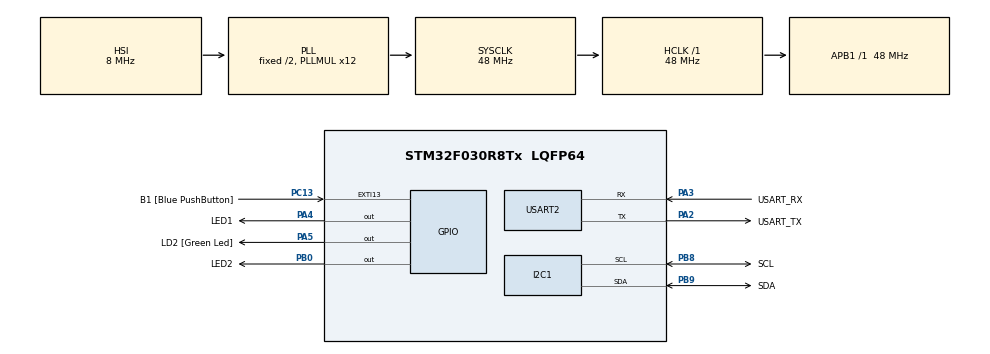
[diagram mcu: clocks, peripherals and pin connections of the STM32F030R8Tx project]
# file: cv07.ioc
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Dma.Request0=USART2_RX
Dma.USART2_RX.0.Direction=DMA_PERIPH_TO_MEMORY
Dma.USART2_RX.0.Instance=DMA1_Channel5
Dma.USART2_RX.0.MemDataAlignment=DMA_MDATAALIGN_BYTE
Dma.USART2_RX.0.MemInc=DMA_MINC_ENABLE
Dma.USART2_RX.0.Mode=DMA_CIRCULAR
Dma.USART2_RX.0.PeriphDataAlignment=DMA_PDATAALIGN_BYTE
Dma.USART2_RX.0.PeriphInc=DMA_PINC_DISABLE
Dma.USART2_RX.0.Priority=DMA_PRIORITY_LOW
FREERTOS.Queues01=xVisualQueue,16,int16_t,0,Dynamic,NULL,NULL
FREERTOS.Tasks01=defaultTask,0,128,StartDefaultTask,Default,NULL,Dynamic,NULL,NULL;VisualTask,0,128,StartVisualTask,Default,NULL,Dynamic,NULL,NULL;AcceleroTask,0,128,StartAcceleroTask,Default,NULL,Dynamic,NULL,NULL
FREERTOS.configUSE_NEWLIB_REENTRANT=1
Mcu.Family=STM32F0
Mcu.Name=STM32F030R8Tx
Mcu.Package=LQFP64
NVIC.DMA1_Channel4_5_IRQn=true\:3\:0\:false\:false\:true\:true\:false\:true
NVIC.TIM14_IRQn=true\:3\:0\:false\:false\:true\:false\:false\:true
NVIC.TimeBase=TIM14_IRQn
NVIC.TimeBaseIP=TIM14
PA13.GPIO_Label=TMS
PA13.Mode=Serial_Wire
PA13.Signal=SYS_SWDIO
PA14.GPIO_Label=TCK
PA14.Mode=Serial_Wire
PA14.Signal=SYS_SWCLK
PA2.GPIO_Label=USART_TX
PA2.GPIO_Mode=GPIO_MODE_AF_PP
PA2.GPIO_PuPd=GPIO_NOPULL
PA2.GPIO_Speed=GPIO_SPEED_FREQ_LOW
PA2.Mode=Asynchronous
PA2.Signal=USART2_TX
PA3.GPIO_Label=USART_RX
PA3.GPIO_Mode=GPIO_MODE_AF_PP
PA3.GPIO_PuPd=GPIO_NOPULL
PA3.GPIO_Speed=GPIO_SPEED_FREQ_LOW
PA3.Mode=Asynchronous
PA3.Signal=USART2_RX
PA4.GPIO_Label=LED1
PA4.Signal=GPIO_Output
PA5.GPIO_Label=LD2 [Green Led]
PA5.GPIO_Mode=GPIO_MODE_OUTPUT_PP
PA5.GPIO_PuPd=GPIO_NOPULL
PA5.GPIO_Speed=GPIO_SPEED_FREQ_LOW
PA5.Signal=GPIO_Output
PB0.GPIO_Label=LED2
PB0.Signal=GPIO_Output
PB8.GPIO_Label=SCL
PB8.Mode=I2C
PB8.Signal=I2C1_SCL
PB9.GPIO_Label=SDA
PB9.Mode=I2C
PB9.Signal=I2C1_SDA
PC13.GPIO_Label=B1 [Blue PushButton]
PC13.GPIO_ModeDefaultEXTI=GPIO_MODE_IT_FALLING
PC13.Signal=GPXTI13
PC14-OSC32_IN.Mode=LSE-External-Oscillator
PC14-OSC32_IN.Signal=RCC_OSC32_IN
PC15-OSC32_OUT.Mode=LSE-External-Oscillator
PC15-OSC32_OUT.Signal=RCC_OSC32_OUT
PF0-OSC_IN.Mode=HSE-External-Clock-Source
PF0-OSC_IN.Signal=RCC_OSC_IN
PF1-OSC_OUT.Signal=RCC_OSC_OUT
ProjectManager.HeapSize=0x200
ProjectManager.StackSize=0x400
ProjectManager.TargetToolchain=STM32CubeIDE
RCC.AHBFreq_Value=48000000
RCC.APB1Freq_Value=48000000
RCC.APB1TimFreq_Value=48000000
RCC.HCLKFreq_Value=48000000
RCC.PLLMUL=RCC_PLL_MUL12
RCC.SYSCLKFreq_VALUE=48000000
RCC.SYSCLKSource=RCC_SYSCLKSOURCE_PLLCLK
USART2.VirtualMode-Asynchronous=VM_ASYNC
VP_FREERTOS_VS_CMSIS_V1.Mode=CMSIS_V1
VP_SYS_VS_tim14.Mode=TIM14
board=NUCLEO-F030R8

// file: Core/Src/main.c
/* USER CODE BEGIN Header */
/**
 ******************************************************************************
 * @file           : main.c
 * @brief          : Main program body
 ******************************************************************************
 * @attention
 *
 * <h2><center>&copy; Copyright (c) 2021 STMicroelectronics.
 * All rights reserved.</center></h2>
 *
 * This software component is licensed by ST under BSD 3-Clause license,
 * the "License"; You may not use this file except in compliance with the
 * License. You may obtain a copy of the License at:
 *                        opensource.org/licenses/BSD-3-Clause
 *
 ******************************************************************************
 */
/* USER CODE END Header */
#include "main.h"
#include "cmsis_os.h"
#include <lis2dw12_reg.h>
#include <stdio.h>

/* USER CODE BEGIN PD */
#define RX_BUFFER_LEN 64
static uint8_t uart_rx_buf[RX_BUFFER_LEN];
static volatile uint16_t uart_rx_read_ptr = 0;
#define uart_rx_write_ptr (RX_BUFFER_LEN - hdma_usart2_rx.Instance->CNDTR)
#define CMD_BUFFER_LEN 256
/* USER CODE END PD */

I2C_HandleTypeDef hi2c1;

UART_HandleTypeDef huart2;
DMA_HandleTypeDef hdma_usart2_rx;

osThreadId defaultTaskHandle;
osThreadId VisualTaskHandle;
osThreadId AcceleroTaskHandle;
osMessageQId xVisualQueueHandle;

void SystemClock_Config(void);
static void MX_GPIO_Init(void);
static void MX_DMA_Init(void);
static void MX_USART2_UART_Init(void);
static void MX_I2C1_Init(void);
void StartDefaultTask(void const * argument);
void StartVisualTask(void const * argument);
void StartAcceleroTask(void const * argument);

/* USER CODE BEGIN PFP */
static int32_t platform_write(void *handle, uint8_t reg, uint8_t *bufp, uint16_t len);
static int32_t platform_read(void *handle, uint8_t reg, uint8_t *bufp, uint16_t len);
static stmdev_ctx_t lis2dw12 = {
		.write_reg = platform_write,
		.read_reg = platform_read,
		.handle = &hi2c1,
};
/*
 * Replace the functions "platform_write" and "platform_read" with your
 * platform specific read and write function.
 */
static int32_t platform_write(void *handle, uint8_t reg, uint8_t *bufp, uint16_t len)
{
	HAL_I2C_Mem_Write(handle, LIS2DW12_I2C_ADD_H, reg, I2C_MEMADD_SIZE_8BIT, bufp, len, 1000);
	return 0;
}
static int32_t platform_read(void *handle, uint8_t reg, uint8_t *bufp, uint16_t len)
{
	HAL_I2C_Mem_Read(handle, LIS2DW12_I2C_ADD_H, reg, I2C_MEMADD_SIZE_8BIT, bufp, len, 1000);
	return 0;
}
/* USER CODE END PFP */

/* USER CODE BEGIN 0 */

int _write(int file, char const *buf, int n)
{
	/* stdout redirection to UART2 */
	HAL_UART_Transmit(&huart2, (uint8_t*)(buf), n, HAL_MAX_DELAY);
	return n;
}
/* USER CODE END 0 */

int main(void)
{

	/* MCU Configuration--------------------------------------------------------*/

	/* Reset of all peripherals, Initializes the Flash interface and the Systick. */
	HAL_Init();

	/* Configure the system clock */
	SystemClock_Config();

	/* Initialize all configured peripherals */
	MX_GPIO_Init();
	MX_DMA_Init();
	MX_USART2_UART_Init();
	MX_I2C1_Init();
	/* USER CODE BEGIN 2 */
	HAL_UART_Receive_DMA(&huart2, uart_rx_buf, RX_BUFFER_LEN);
	/* USER CODE END 2 */

	/* Create the queue(s) */
	/* definition and creation of xVisualQueue */
	osMessageQDef(xVisualQueue, 16, int16_t);
	xVisualQueueHandle = osMessageCreate(osMessageQ(xVisualQueue), NULL);

	/* Create the thread(s) */
	/* definition and creation of defaultTask */
	osThreadDef(defaultTask, StartDefaultTask, osPriorityNormal, 0, 128);
	defaultTaskHandle = osThreadCreate(osThread(defaultTask), NULL);

	/* definition and creation of VisualTask */
	osThreadDef(VisualTask, StartVisualTask, osPriorityNormal, 0, 128);
	VisualTaskHandle = osThreadCreate(osThread(VisualTask), NULL);

	/* definition and creation of AcceleroTask */
	osThreadDef(AcceleroTask, StartAcceleroTask, osPriorityNormal, 0, 128);
	AcceleroTaskHandle = osThreadCreate(osThread(AcceleroTask), NULL);

	/* Start scheduler */
	osKernelStart();

	/* We should never get here as control is now taken by the scheduler */
	/* Infinite loop */
	while (1)
	{

	}
}

void SystemClock_Config(void)
{
	RCC_OscInitTypeDef RCC_OscInitStruct = {0};
	RCC_ClkInitTypeDef RCC_ClkInitStruct = {0};
	RCC_PeriphCLKInitTypeDef PeriphClkInit = {0};

	/** Initializes the RCC Oscillators according to the specified parameters
	 * in the RCC_OscInitTypeDef structure.
	 */
	RCC_OscInitStruct.OscillatorType = RCC_OSCILLATORTYPE_HSI;
	RCC_OscInitStruct.HSIState = RCC_HSI_ON;
	RCC_OscInitStruct.HSICalibrationValue = RCC_HSICALIBRATION_DEFAULT;
	RCC_OscInitStruct.PLL.PLLState = RCC_PLL_ON;
	RCC_OscInitStruct.PLL.PLLSource = RCC_PLLSOURCE_HSI;
	RCC_OscInitStruct.PLL.PLLMUL = RCC_PLL_MUL12;
	RCC_OscInitStruct.PLL.PREDIV = RCC_PREDIV_DIV1;
	if (HAL_RCC_OscConfig(&RCC_OscInitStruct) != HAL_OK)
	{
		Error_Handler();
	}
	/** Initializes the CPU, AHB and APB buses clocks
	 */
	RCC_ClkInitStruct.ClockType = RCC_CLOCKTYPE_HCLK|RCC_CLOCKTYPE_SYSCLK
			|RCC_CLOCKTYPE_PCLK1;
	RCC_ClkInitStruct.SYSCLKSource = RCC_SYSCLKSOURCE_PLLCLK;
	RCC_ClkInitStruct.AHBCLKDivider = RCC_SYSCLK_DIV1;
	RCC_ClkInitStruct.APB1CLKDivider = RCC_HCLK_DIV1;

	if (HAL_RCC_ClockConfig(&RCC_ClkInitStruct, FLASH_LATENCY_1) != HAL_OK)
	{
		Error_Handler();
	}
	PeriphClkInit.PeriphClockSelection = RCC_PERIPHCLK_I2C1;
	PeriphClkInit.I2c1ClockSelection = RCC_I2C1CLKSOURCE_HSI;
	if (HAL_RCCEx_PeriphCLKConfig(&PeriphClkInit) != HAL_OK)
	{
		Error_Handler();
	}
}

static void MX_I2C1_Init(void)
{

	hi2c1.Instance = I2C1;
	hi2c1.Init.Timing = 0x2000090E;
	hi2c1.Init.OwnAddress1 = 0;
	hi2c1.Init.AddressingMode = I2C_ADDRESSINGMODE_7BIT;
	hi2c1.Init.DualAddressMode = I2C_DUALADDRESS_DISABLE;
	hi2c1.Init.OwnAddress2 = 0;
	hi2c1.Init.OwnAddress2Masks = I2C_OA2_NOMASK;
	hi2c1.Init.GeneralCallMode = I2C_GENERALCALL_DISABLE;
	hi2c1.Init.NoStretchMode = I2C_NOSTRETCH_DISABLE;
	if (HAL_I2C_Init(&hi2c1) != HAL_OK)
	{
		Error_Handler();
	}
	/** Configure Analogue filter
	 */
	if (HAL_I2CEx_ConfigAnalogFilter(&hi2c1, I2C_ANALOGFILTER_ENABLE) != HAL_OK)
	{
		Error_Handler();
	}
	/** Configure Digital filter
	 */
	if (HAL_I2CEx_ConfigDigitalFilter(&hi2c1, 0) != HAL_OK)
	{
		Error_Handler();
	}

}

static void MX_USART2_UART_Init(void)
{

	huart2.Instance = USART2;
	huart2.Init.BaudRate = 38400;
	huart2.Init.WordLength = UART_WORDLENGTH_8B;
	huart2.Init.StopBits = UART_STOPBITS_1;
	huart2.Init.Parity = UART_PARITY_NONE;
	huart2.Init.Mode = UART_MODE_TX_RX;
	huart2.Init.HwFlowCtl = UART_HWCONTROL_NONE;
	huart2.Init.OverSampling = UART_OVERSAMPLING_16;
	huart2.Init.OneBitSampling = UART_ONE_BIT_SAMPLE_DISABLE;
	huart2.AdvancedInit.AdvFeatureInit = UART_ADVFEATURE_NO_INIT;
	if (HAL_UART_Init(&huart2) != HAL_OK)
	{
		Error_Handler();
	}

}

static void MX_DMA_Init(void)
{

	/* DMA controller clock enable */
	__HAL_RCC_DMA1_CLK_ENABLE();

	/* DMA interrupt init */
	/* DMA1_Channel4_5_IRQn interrupt configuration */
	HAL_NVIC_SetPriority(DMA1_Channel4_5_IRQn, 3, 0);
	HAL_NVIC_EnableIRQ(DMA1_Channel4_5_IRQn);

}

static void MX_GPIO_Init(void)
{
	GPIO_InitTypeDef GPIO_InitStruct = {0};

	/* GPIO Ports Clock Enable */
	__HAL_RCC_GPIOC_CLK_ENABLE();
	__HAL_RCC_GPIOF_CLK_ENABLE();
	__HAL_RCC_GPIOA_CLK_ENABLE();
	__HAL_RCC_GPIOB_CLK_ENABLE();

	/*Configure GPIO pin Output Level */
	HAL_GPIO_WritePin(GPIOA, LED1_Pin|LD2_Pin, GPIO_PIN_RESET);

	/*Configure GPIO pin Output Level */
	HAL_GPIO_WritePin(LED2_GPIO_Port, LED2_Pin, GPIO_PIN_RESET);

	/*Configure GPIO pin : B1_Pin */
	GPIO_InitStruct.Pin = B1_Pin;
	GPIO_InitStruct.Mode = GPIO_MODE_IT_FALLING;
	GPIO_InitStruct.Pull = GPIO_NOPULL;
	HAL_GPIO_Init(B1_GPIO_Port, &GPIO_InitStruct);

	/*Configure GPIO pins : LED1_Pin LD2_Pin */
	GPIO_InitStruct.Pin = LED1_Pin|LD2_Pin;
	GPIO_InitStruct.Mode = GPIO_MODE_OUTPUT_PP;
	GPIO_InitStruct.Pull = GPIO_NOPULL;
	GPIO_InitStruct.Speed = GPIO_SPEED_FREQ_LOW;
	HAL_GPIO_Init(GPIOA, &GPIO_InitStruct);

	/*Configure GPIO pin : LED2_Pin */
	GPIO_InitStruct.Pin = LED2_Pin;
	GPIO_InitStruct.Mode = GPIO_MODE_OUTPUT_PP;
	GPIO_InitStruct.Pull = GPIO_NOPULL;
	GPIO_InitStruct.Speed = GPIO_SPEED_FREQ_LOW;
	HAL_GPIO_Init(LED2_GPIO_Port, &GPIO_InitStruct);

}

void StartDefaultTask(void const * argument)
{
	for(;;)
	{
		osDelay(1);
	}
}

void StartVisualTask(void const * argument)
{
	/* USER CODE BEGIN StartVisualTask */
	/* Infinite loop */
	for(;;)
	{
		osDelay(1);
		int16_t msg;
		if (xQueueReceive(xVisualQueueHandle, &msg, portMAX_DELAY))
		{
			if (msg<-1000)
			{
				HAL_GPIO_WritePin(LED1_GPIO_Port, LED1_Pin, 1);
				HAL_GPIO_WritePin(LED2_GPIO_Port, LED2_Pin, 0);
			}
			else if (msg>1000)
			{
				HAL_GPIO_WritePin(LED1_GPIO_Port, LED1_Pin, 0);
				HAL_GPIO_WritePin(LED2_GPIO_Port, LED2_Pin, 1);
			}
			else
			{
				HAL_GPIO_WritePin(LED1_GPIO_Port, LED1_Pin, 0);
				HAL_GPIO_WritePin(LED2_GPIO_Port, LED2_Pin, 0);
			}
		}
	}
	/* USER CODE END StartVisualTask */
}

void StartAcceleroTask(void const * argument)
{
	/* USER CODE BEGIN StartAcceleroTask */
	/* Infinite loop */
	// Check device ID
	uint32_t Tick;
	uint8_t whoamI = 0;
	lis2dw12_device_id_get(&lis2dw12, &whoamI);
	printf("LIS2DW12_ID %s\n", (whoamI == LIS2DW12_ID) ? "OK" : "FAIL");
	lis2dw12_full_scale_set(&lis2dw12, LIS2DW12_2g);
	lis2dw12_power_mode_set(&lis2dw12, LIS2DW12_CONT_LOW_PWR_LOW_NOISE_2);
	lis2dw12_block_data_update_set(&lis2dw12, PROPERTY_ENABLE);
	lis2dw12_fifo_mode_set(&lis2dw12, LIS2DW12_STREAM_MODE); // enable continuous FIFO
	lis2dw12_data_rate_set(&lis2dw12, LIS2DW12_XL_ODR_25Hz); // enable part from power-down
	for(;;)
	{
		osDelay(1);
		uint8_t samples;
		int16_t raw_acceleration[3];
		lis2dw12_fifo_data_level_get(&lis2dw12, &samples);
		for (uint8_t i=0; i<samples; i++)
		{
			// Read acceleration data
			lis2dw12_acceleration_raw_get(&lis2dw12, raw_acceleration);
		}
		xQueueSend(xVisualQueueHandle, &raw_acceleration[0], 0);
		osDelay(50);
		if (HAL_GetTick()>(Tick+1000))
		{
			printf("X=%d Y=%d Z=%d\n", raw_acceleration[0], raw_acceleration[1], raw_acceleration[2]);
			Tick = HAL_GetTick();
		}
	}
	/* USER CODE END StartAcceleroTask */
}

void HAL_TIM_PeriodElapsedCallback(TIM_HandleTypeDef *htim)
{
	if (htim->Instance == TIM14) {
		HAL_IncTick();
	}
}

void Error_Handler(void)
{
	__disable_irq();
	while (1)
	{
	}
}

/************************ (C) COPYRIGHT STMicroelectronics *****END OF FILE****/
